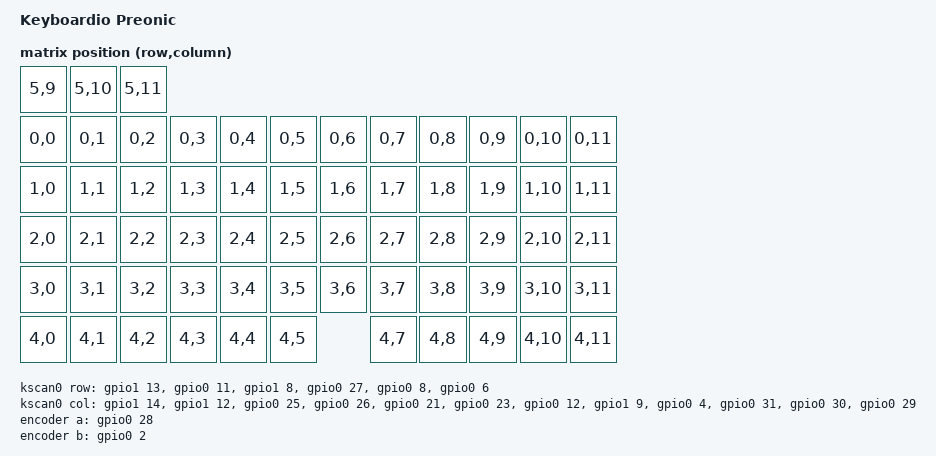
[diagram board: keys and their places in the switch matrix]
/dts-v1/;
#include <nordic/nrf52840_qiaa.dtsi>
#include <dt-bindings/zmk/matrix_transform.h>
#include <dt-bindings/zmk/keys.h>
#include <dt-bindings/gpio/gpio.h>

/ {
	model = "Keyboardio Preonic";
	compatible = "keyboardio,preonic";

	chosen {
		zephyr,code-partition = &slot0_partition;
		zephyr,sram = &sram0;
		zephyr,flash = &flash0;
		zmk,kscan = &kscan0;
		zmk,matrix_transform = &mit_layout;
	};

	// ZMK 시스템의 RC(Right Control) 매크로와 충돌을 피하기 위해 독자적인 매핑 매크로 정의
	// 행(row)과 열(col) 정보를 결합하여 고유 인덱스 생성
	#define KRC(row, col) (((row) * 12) + (col))

	mit_layout: mit_layout {
		compatible = "zmk,matrix-transform";
		columns = <12>;
		rows = <6>;
		map = <
			KRC(5,9) KRC(5,10) KRC(5,11)
			KRC(0,0) KRC(0,1) KRC(0,2) KRC(0,3) KRC(0,4) KRC(0,5) KRC(0,6) KRC(0,7) KRC(0,8) KRC(0,9) KRC(0,10) KRC(0,11)
			KRC(1,0) KRC(1,1) KRC(1,2) KRC(1,3) KRC(1,4) KRC(1,5) KRC(1,6) KRC(1,7) KRC(1,8) KRC(1,9) KRC(1,10) KRC(1,11)
			KRC(2,0) KRC(2,1) KRC(2,2) KRC(2,3) KRC(2,4) KRC(2,5) KRC(2,6) KRC(2,7) KRC(2,8) KRC(2,9) KRC(2,10) KRC(2,11)
			KRC(3,0) KRC(3,1) KRC(3,2) KRC(3,3) KRC(3,4) KRC(3,5) KRC(3,6) KRC(3,7) KRC(3,8) KRC(3,9) KRC(3,10) KRC(3,11)
			KRC(4,0) KRC(4,1) KRC(4,2) KRC(4,3) KRC(4,4)     KRC(4,5)     KRC(4,7) KRC(4,8) KRC(4,9) KRC(4,10) KRC(4,11)
		>;
	};

	kscan0: kscan {
		compatible = "zmk,kscan-gpio-matrix";
		label = "KSCAN";
		diode-direction = "col2row";

		row-gpios
			= <&gpio1 13 (GPIO_ACTIVE_HIGH | GPIO_PULL_DOWN)>
			, <&gpio0 11 (GPIO_ACTIVE_HIGH | GPIO_PULL_DOWN)>
			, <&gpio1 8  (GPIO_ACTIVE_HIGH | GPIO_PULL_DOWN)>
			, <&gpio0 27 (GPIO_ACTIVE_HIGH | GPIO_PULL_DOWN)>
			, <&gpio0 8  (GPIO_ACTIVE_HIGH | GPIO_PULL_DOWN)>
			, <&gpio0 6  (GPIO_ACTIVE_HIGH | GPIO_PULL_DOWN)>
			;

		col-gpios
			= <&gpio1 14 GPIO_ACTIVE_HIGH>
			, <&gpio1 12 GPIO_ACTIVE_HIGH>
			, <&gpio0 25 GPIO_ACTIVE_HIGH>
			, <&gpio0 26 GPIO_ACTIVE_HIGH>
			, <&gpio0 21 GPIO_ACTIVE_HIGH>
			, <&gpio0 23 GPIO_ACTIVE_HIGH>
			, <&gpio0 12 GPIO_ACTIVE_HIGH>
			, <&gpio1 9  GPIO_ACTIVE_HIGH>
			, <&gpio0 4  GPIO_ACTIVE_HIGH>
			, <&gpio0 31 GPIO_ACTIVE_HIGH>
			, <&gpio0 30 GPIO_ACTIVE_HIGH>
			, <&gpio0 29 GPIO_ACTIVE_HIGH>
			;
	};

	encoder: encoder {
		compatible = "alps,ec11";
		label = "ENCODER";
		a-gpios = <&gpio0 28 (GPIO_ACTIVE_HIGH | GPIO_PULL_UP)>;
		b-gpios = <&gpio0 2  (GPIO_ACTIVE_HIGH | GPIO_PULL_UP)>;
		steps = <80>;
		status = "okay";
	};

	sensors: sensors {
		compatible = "zmk,keymap-sensors";
		sensors = <&encoder>;
		triggers-per-rotation = <20>;
	};
};

&flash0 {
	partitions {
		compatible = "fixed-partitions";
		#address-cells = <1>;
		#size-cells = <1>;
		boot_partition: partition@0 { label = "mcuboot"; reg = <0x00000000 0x0000C000>; };
		slot0_partition: partition@c000 { label = "image-0"; reg = <0x0000C000 0x00076000>; };
		slot1_partition: partition@82000 { label = "image-1"; reg = <0x00082000 0x00076000>; };
		scratch_partition: partition@f8000 { label = "image-scratch"; reg = <0x000F8000 0x00006000>; };
		storage_partition: partition@fe000 { label = "storage"; reg = <0x000FE000 0x00002000>; };
	};
};
